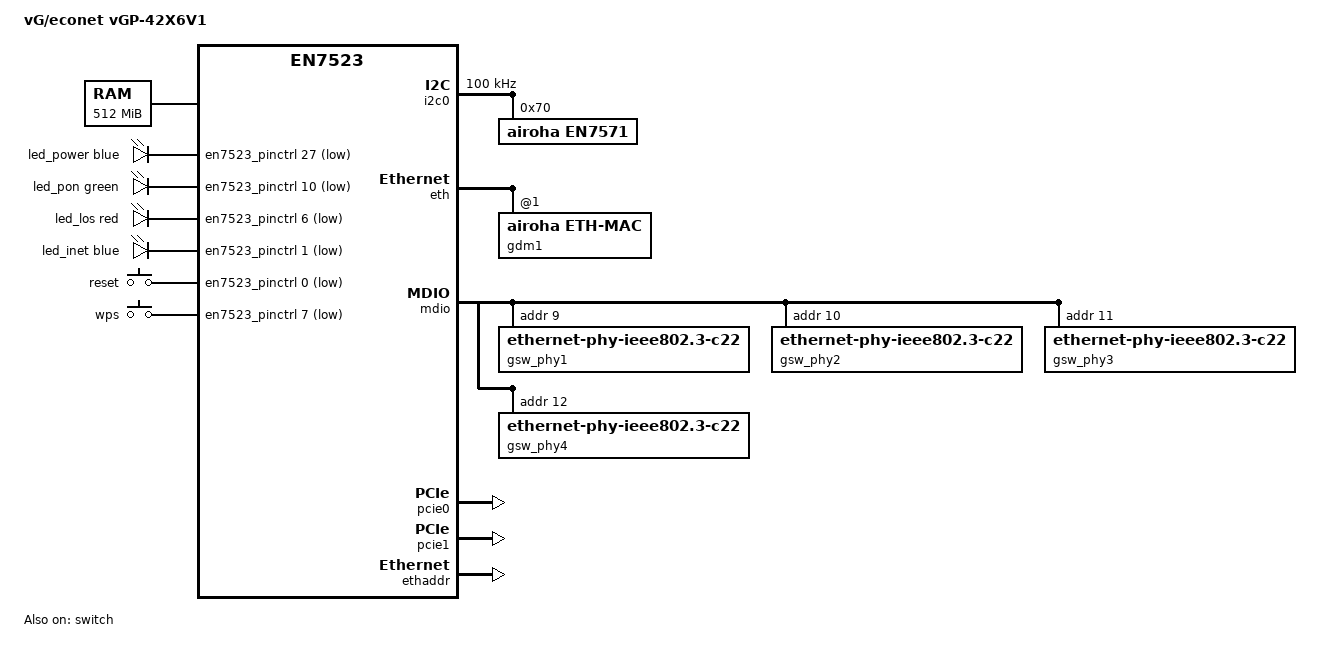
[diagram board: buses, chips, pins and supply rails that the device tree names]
// SPDX-License-Identifier: (GPL-2.0-only OR BSD-2-Clause)
/*
 * vG/econet vGP-42X6V1 -- GPON ONU on the Airoha/Econet EN7523 SoC
 * Board bring-up for OpenWrt.
 *
 * Milestones already validated on real hardware:
 *   M2/M3: UART + NAND (FIT splits kernel/rootfs/rootfs_data) + UBI overlay on mtd7 + PCIe/WiFi
 *   M4   : internal Ethernet -- FE/QDMA/GDMP + GDM1 + GSW (MT7530 compatible) -> 4 LAN ports
 *
 * Data sources:
 *  - /proc/mtd, /proc/meminfo, /proc/cmdline (see docs/reverse-engineering.md)
 *  - the stock device tree extracted from the vendor FIT image
 *  - eth/gdm1/switch/gsw_port/mdio nodes: from the upstream EN7523 patch series
 *    (OpenWrt PR #20104, patches 930-42..930-51) -- see docs/ethernet.md
 *
 * NOTE: the PON nodes (xpon / xpon_phy / pon_pcs / laser) are NOT here -- they need a
 * separate config + PON patch (see openwrt/pon/README.md). M4 only enables Ethernet/switch,
 * so the optical part is still in the "no driver yet" state.
 */
/dts-v1/;

/* ATF is placed at the start of DRAM by the bootloader (tcboot/U-Boot), as in en7523-evb.dts */
/memreserve/ 0x80000000 0x200000;

#include <dt-bindings/gpio/gpio.h>
#include <dt-bindings/input/input.h>
#include <dt-bindings/interrupt-controller/arm-gic.h>
#include <dt-bindings/leds/common.h>
#include <dt-bindings/reset/airoha,en7523-reset.h>
#include "en7523.dtsi"

/ {
	model = "vG/econet vGP-42X6V1";
	compatible = "econet,vgp-42x6v1", "airoha,en7523";

	aliases {
		serial0 = &uart1;
		/* status LEDs for diag.sh / init.d/led (get_dt_led boot|running|...) */
		led-boot = &led_power;
		led-running = &led_power;
		led-failsafe = &led_power;
		led-upgrade = &led_power;
	};

	chosen {
		bootargs = "console=ttyS0,115200n8 earlycon";
		stdout-path = "serial0:115200n8";
		linux,usable-memory-range = <0x80200000 0x1fe00000>;
	};

	/*
	 * Real RAM = 512 MB. Read live: MemTotal 480136 kB (~32 MiB at the start is reserved
	 * by NPU/ATF). The stock DT declares 0x40000000 (1 GiB) -- WRONG, do not use.
	 */
	memory@80000000 {
		device_type = "memory";
		reg = <0x80000000 0x20000000>;
	};

	/*
	 * ------------------------------------------------------------------
	 * I2C0 (0x1fbf8000) -- the optical bus (BOSA/EN7571 at 0x70)
	 * ------------------------------------------------------------------
	 * On the stock firmware the DDMI values are read through the PON PHY
	 * block's *internal* I2C master, while the community tree and the one
	 * public EN7523 port (Zyxel PX3321-T1) both put the EN7571 on the SoC's
	 * I2C0 at address 0x70. This is the experiment that settles it: enable
	 * the bus and the driver, then scan for 0x70 with `i2cdetect -y -r 0`.
	 * - airoha_caps: max_clk_div 0xfff, atomic polling, no CFG2 register
	 *   (patch 930-52, taken from the airoha_en7523_all branch).
	 * - fixed 20 MHz clock, 100 kHz bus. No pinctrl: the I2C pads use the
	 *   SoC defaults.
	 *
	 * Address 0x70 was confirmed on real hardware (2026-10-08): an
	 * `i2cdetect -y -r 0` scan answers at 0x70, so the EN7571 is on this bus
	 * and the read-only probing phase is over. The child node below hands
	 * the part to the optical frontend driver, which writes its bring-up
	 * sequence and the board BOB calibration into the laser-diode driver.
	 * Keep the fibre unplugged and the PON port dark while that driver is
	 * brought up: the stock LED map calls this board's TX-disable line
	 * GPIO16, and nothing in this DTS claims it, so the dark state rests on
	 * the BOSA's own power-up state rather than on Linux.
	 */
	i2cclock: i2cclock@0 {
		#clock-cells = <0>;
		compatible = "fixed-clock";
		clock-frequency = <20000000>;
	};

	i2c0: i2c0@1fbf8000 {
		compatible = "airoha,en7523-i2c";
		reg = <0x1fbf8000 0x100>;
		clocks = <&i2cclock>;
		clock-frequency = <100000>;
		#address-cells = <1>;
		#size-cells = <0>;
		status = "okay";

		/*
		 * BOSA + EN7571 laser-diode driver / limiting amplifier.
		 *
		 * firmware-name points at this unit's own BOB calibration blob
		 * (400 B, magic 0x07050701 at byte 0x94 -- the byte lddla_bob_import()
		 * uses to identify both the chip family and the 32-bit word
		 * endianness of the source). The file is installed at
		 * /lib/firmware/airoha/en7571_bob.bin.
		 *
		 * Deliberately no nvmem-cells: the driver tries an nvmem cell named
		 * "calibration" first and falls back to firmware-name when there is
		 * none. Reading the BOB straight out of flash later would mean
		 * pointing a cell at the factory block (BOB at 0x6F00000+0x497).
		 */
		en7571: lddla@70 {
			compatible = "airoha,en7571";
			reg = <0x70>;
			firmware-name = "airoha/en7571_bob.bin";

			/*
			 * MANDATORY for this node to act as an optical frontend
			 * *provider*: optical/core.c devm_optical_frontend_get_optional()
			 *     -> fwnode_property_get_reference_args(fwnode,
			 *           "optical-frontends",
			 *           "#optical-frontend-cells", 0, index, &args);
			 *     if (ret) { if (ret == -ENOENT) return NULL;
			 *                return ERR_PTR(ret); }   <- -EINVAL
			 * Without this property the lookup returns -EINVAL (not
			 * -EPROBE_DEFER), so airoha_xpon_probe() takes the "failed to
			 * get optical frontend" branch -> "error on register xPON MAC"
			 * -> the whole xPON stack is torn down.
			 */
			#optical-frontend-cells = <0>;
		};
	};

	/*
	 * ------------------------------------------------------------------
	 * Internal Ethernet (M4)
	 * ------------------------------------------------------------------
	 * EN7523 has a Frame Engine (FE) + 2 QDMA blocks (PDMA/QDMA) + GDMP, and 3
	 * internal MAC ports called GDM:
	 *   GDM1 -> internal switch (GSW) -> 4 LAN PHY ports (phy-mode "internal")
	 *   GDM2 -> PON MAC (SGMII 2500Base-X) -- needs a PCS node, NOT enabled in M4
	 *   GDM3 -> USB serdes                              -- NOT enabled in M4
	 * Driver: drivers/net/ethernet/airoha/airoha_eth.c (CONFIG_NET_AIROHA=y).
	 * The GSW switch is MT7530 compatible -> use the mt7530 DSA driver (CONFIG_NET_DSA_MT7530_MMIO).
	 * Addresses/IRQs/resets come from the upstream patch series (930-42..930-51), already
	 * cross-checked against Kiwironic's working EN7523 board DT.
	 */
	eth: ethernet@1fb50000 {
		compatible = "airoha,en7523-eth";
		status = "okay";

		reg = <0x1fb50000 0x2600>,
		      <0x1fb54000 0x2000>,
		      <0x1fb56000 0x2000>,
		      <0x1fbf9000 0x1000>;
		reg-names = "fe", "qdma0", "qdma1", "gdmp";

		resets = <&scu EN7523_FE_RST>,
			 <&scu EN7523_FE_PDMA_RST>,
			 <&scu EN7523_FE_QDMA_RST>,
			 <&scu EN7523_DUAL_HSI0_MAC_RST>,
			 <&scu EN7523_DUAL_HSI1_MAC_RST>,
			 <&scu EN7523_HSI_MAC_RST>,
			 <&scu EN7523_GDMP_RST>;
		reset-names = "fe", "pdma", "qdma",
			      "hsi0-mac", "hsi1-mac", "hsi-mac", "gdmp";

		interrupts = <GIC_SPI 37 IRQ_TYPE_LEVEL_HIGH>,
			     <GIC_SPI 55 IRQ_TYPE_LEVEL_HIGH>,
			     <GIC_SPI 56 IRQ_TYPE_LEVEL_HIGH>,
			     <GIC_SPI 57 IRQ_TYPE_LEVEL_HIGH>,
			     <GIC_SPI 38 IRQ_TYPE_LEVEL_HIGH>,
			     <GIC_SPI 58 IRQ_TYPE_LEVEL_HIGH>,
			     <GIC_SPI 59 IRQ_TYPE_LEVEL_HIGH>,
			     <GIC_SPI 60 IRQ_TYPE_LEVEL_HIGH>,
			     <GIC_SPI 49 IRQ_TYPE_LEVEL_HIGH>,
			     <GIC_SPI 64 IRQ_TYPE_LEVEL_HIGH>;

		memory-region = <&qdma0_buf>, <&qdma1_buf>;
		memory-region-names = "qdma0-buf", "qdma1-buf";

		#address-cells = <1>;
		#size-cells = <0>;

		gdm1: ethernet@1 {
			compatible = "airoha,eth-mac";
			reg = <1>;
			/* GDM1 only supports "internal" when connected to the internal switch */
			phy-mode = "internal";
			status = "okay";

			/*
			 * The identity of this unit comes out of its own flash, read by the
			 * kernel: the `ethaddr` variable of the U-Boot environment (see the
			 * u-boot-env partition) is exposed as an nvmem cell, and the driver
			 * picks it up through of_get_ethdev_address(). Nothing in this
			 * repository carries a per-unit value any more, and no boot-time
			 * userspace script assigns a MAC.
			 *
			 * Without a cell the driver's of_get_ethdev_address() fails and it
			 * calls eth_hw_addr_random(): eth0 gets a new address on every boot
			 * (MEASURED: dmesg "generated random MAC address ...",
			 * addr_assign_type = 1 = NET_ADDR_RANDOM). If the nvmem provider is
			 * not up yet the call returns -EPROBE_DEFER and the driver defers
			 * (airoha_eth.c), so the address is always read before the netdev is
			 * registered.
			 *
			 * The index is the offset ADDED to the stored address: there is only
			 * one address on the board, and drivers/nvmem/layouts/u-boot-env.c
			 * runs eth_addr_add(mac, index) when the index is non-zero. Index 0 is
			 * the address exactly as flashed -- the one printed on the label --
			 * and is what the CPU port (GDM1) and the LAN bridge use.
			 */
			nvmem-cells = <&ethaddr 0>;
			nvmem-cell-names = "mac-address";

			fixed-link {
				speed = <10000>;
				full-duplex;
				pause;
			};
		};
	};

	switch: switch@1fb58000 {
		compatible = "airoha,en7523-switch";
		reg = <0x1fb58000 0x8000>;
		resets = <&scu EN7523_GSW_RST>;
		interrupt-controller;
		#interrupt-cells = <1>;
		interrupt-parent = <&gic>;
		interrupts = <GIC_SPI 31 IRQ_TYPE_LEVEL_HIGH>;
		status = "okay";

		#address-cells = <1>;
		#size-cells = <1>;

		/*
		 * Per-port identity comes from flash too: DSA reads each port's MAC with
		 * of_get_mac_address() (net/dsa/dsa.c) and uses it verbatim when it is not
		 * all-zero (net/dsa/port.c, otherwise the port inherits its conduit's
		 * address). The index is again the offset added to the single stored
		 * address, so lan1..lan4 get base+1..base+4 and never collide with GDM1
		 * (base+0) or the two radios (base+6, base+7).
		 */
		ports {
			#address-cells = <1>;
			#size-cells = <0>;

			gsw_port1: port@1 {
				reg = <1>;
				label = "lan1";
				phy-mode = "internal";
				phy-handle = <&gsw_phy1>;
				status = "okay";

				nvmem-cells = <&ethaddr 1>;
				nvmem-cell-names = "mac-address";
			};

			gsw_port2: port@2 {
				reg = <2>;
				label = "lan2";
				phy-mode = "internal";
				phy-handle = <&gsw_phy2>;
				status = "okay";

				nvmem-cells = <&ethaddr 2>;
				nvmem-cell-names = "mac-address";
			};

			gsw_port3: port@3 {
				reg = <3>;
				label = "lan3";
				phy-mode = "internal";
				phy-handle = <&gsw_phy3>;
				status = "okay";

				nvmem-cells = <&ethaddr 3>;
				nvmem-cell-names = "mac-address";
			};

			gsw_port4: port@4 {
				reg = <4>;
				label = "lan4";
				phy-mode = "internal";
				phy-handle = <&gsw_phy4>;
				status = "okay";

				nvmem-cells = <&ethaddr 4>;
				nvmem-cell-names = "mac-address";
			};

			/* port 6 = CPU port, connected to MAC GDM1 */
			port@6 {
				reg = <6>;
				ethernet = <&gdm1>;
				phy-mode = "internal";

				fixed-link {
					speed = <10000>;
					full-duplex;
					pause;
				};
			};
		};

		mdio: mdio {
			#address-cells = <1>;
			#size-cells = <0>;

			gsw_phy1: ethernet-phy@9 {
				compatible = "ethernet-phy-ieee802.3-c22";
				reg = <9>;
			};

			gsw_phy2: ethernet-phy@a {
				compatible = "ethernet-phy-ieee802.3-c22";
				reg = <10>;
			};

			gsw_phy3: ethernet-phy@b {
				compatible = "ethernet-phy-ieee802.3-c22";
				reg = <11>;
			};

			gsw_phy4: ethernet-phy@c {
				compatible = "ethernet-phy-ieee802.3-c22";
				reg = <12>;
			};
		};
	};
};

/*
 * QDMA DMA area. en7523.dtsi already has a reserved-memory node (5 regions for
 * the NPU, 0x84000000-0x86E00000), so here we extend it by path overlay -- do NOT
 * create a second reserved-memory node (dtc will report a duplicate node name).
 *
 * 0x87000000-0x8A000000 is inside the 512 MB DRAM, right after the dtsi NPU region.
 * "no-map" => the kernel does not map this area; only the eth driver uses it as ring buffers.
 */
&{/reserved-memory} {
	qdma0_buf: qdma0-buf@87000000 {
		no-map;
		reg = <0x87000000 0x02000000>;
	};

	qdma1_buf: qdma1-buf@89000000 {
		no-map;
		reg = <0x89000000 0x01000000>;
	};
};

/*
 * ------------------------------------------------------------------
 * img16: drop the 2 old "GPIO banks", use the airoha,en7523-pinctrl driver
 * ------------------------------------------------------------------
 * The old banks (`airoha,en7523-gpio` declared in en7523.dtsi) map
 * 0x1fbf0204/0200/0220/0214 + 0x1fbf0270/0260/0264/0278 -- they OVERLAP the
 * 0x1fbf0200..0x1fbf02bf window of the pinctrl driver => the two drivers cannot
 * coexist. The old nodes must go, exactly as in U-Boot patch
 * 110-arm-dts-en7523-add-pinctrl-gpio-support-drop-legacy-.patch.
 */
/delete-node/ &gpio0;
/delete-node/ &gpio1;

/*
 * (C1) `syscon_node_to_regmap()` only accepts a node with compatible "syscon"
 * (drivers/mfd/syscon.c: device_node_get_regmap(np,
 * of_device_is_compatible(np, "syscon"), true)); the `scu:` node of en7523.dtsi
 * (`compatible = "airoha,en7523-scu"`) does NOT have it => add "syscon" here.
 * This does not change clock driver behaviour: it matches the of_match_table
 * entry "airoha,en7523-scu" (still first in the list), and the reg window
 * 0x1fa20000+0x400 fully covers the IOMUX range 0x210..0x224.
 */
&scu {
	compatible = "airoha,en7523-scu", "syscon";
};

/ {
	/*
	 * (C3) SCU register window (0x1fb00000) -- mandatory for the PON driver.
	 *
	 * The en7523.dtsi `scu:` node merges TWO regions:
	 *     reg = <0x1fa20000 0x400>, <0x1fb00000 0x1000>;
	 * but syscon only takes reg[0] (of_syscon_register -> of_address_to_resource
	 * (np, 0)), so the regmap has max_register = 0x3fc. Consequence: every
	 * `airoha-xpon` access to RST_CTRL2 (0x830) / RST_CTRL1 (0x834) -- which live
	 * at 0x1fb00830/0x1fb00834 -- is SILENTLY REFUSED by regmap: writes have no
	 * effect and reads keep returning stack garbage.
	 *
	 * The community tree solves it by SPLITTING into two nodes (chip_scu at
	 * 0x1fa20000 and scuclk at 0x1fb00000) and pointing every consumer at
	 * `airoha,scu = <&scuclk>`. Here the minimal version: one extra syscon node
	 * for the 0x1fb00000 register window only, referenced by the two PON nodes
	 * (see en7523-vgp42x6v1-pon.dtsi). The compatible is deliberately NOT
	 * "airoha,en7523-scu" so the clock/reset driver does not probe twice.
	 */
	scu_reg: syscon@1fb00000 {
		compatible = "airoha,en7523-scu-regs", "syscon";
		reg = <0x1fb00000 0x1000>;
	};

	system-controller@1fbf0200 {
		compatible = "syscon", "simple-mfd";
		/* >= 0x98 (irq_edge/level up to 0x94) and covers LAN_LED1_MAPPING 0x7c.
		 * The vendor DT declares 0x80, which is TOO SMALL. */
		reg = <0x1fbf0200 0xc0>;

		en7523_pinctrl: pinctrl {
			compatible = "airoha,en7523-pinctrl";

			/*
			 * (C2) MANDATORY. Without this phandle
			 * syscon_regmap_lookup_by_compatible("airoha,en7523-chip-scu") returns NULL
			 * (no DTS in the tree declares that compatible) => -ENODEV => probe bails out:
			 * NO gpiochip, and every LED + button is lost. (U-Boot looks up the SCU a
			 * different way, so the blueprint copied from the U-Boot patch misses this
			 * line.)
			 */
			airoha,chip-scu = <&scu>;

			/* platform_get_irq() runs BEFORE devm_gpiochip_add_data() =>
			 * without these two lines the gpiochip is lost. GIC_SPI 26 is correct for the
			 * whole EN7523/AN7581/AN7583 family. */
			interrupt-parent = <&gic>;
			interrupts = <GIC_SPI 26 IRQ_TYPE_LEVEL_HIGH>;

			gpio-controller;
			#gpio-cells = <2>;

			interrupt-controller;
			#interrupt-cells = <2>;

			/* MANDATORY in practice:
			 * airoha_convert_pin_to_reg_offset() uses
			 * pinctrl_find_gpio_range_from_pin_nolock(); without a range => -EINVAL for
			 * every set/get operation.
			 * Row N <-> internal pin N+12 => <&en7523_pinctrl N> ==
			 * <&en7523_pinctrl N>; the number 12 is NOT a row shift. */
			gpio-ranges = <&en7523_pinctrl 0 12 30>;

			/*
			 * No pinctrl-0 is needed to "return the pads to GPIO": patch 203-02
			 * writes 0 to 5 SCU IOMUX registers right in probe --
			 * 0x0210 2ND_I2C_MODE, 0x0214 SPI_CS1_MODE, 0x0218 PON_MODE,
			 * 0x0220 NPU_UART_EN, 0x0224 FORCE_GPIO_EN (EN7523: 0 = GPIO)
			 * -- BEFORE the gpiochip is registered. Those are exactly the bits
			 * holding gpio1/3/11/26.
			 * WARNING: for gpio0..27 there is NO `function = "gpio"`: gpio_groups[]
			 * only declares gpio28/gpio29. Never use `"pwm"` to
			 * "return to GPIO" -- it SETS the PWM bit.
			 * WARNING: REG_GPIO_FLASH_MODE_CFG 0x1fbf0234 / _EXT 0x1fbf0268
			 * are NOT cleared; if a pad is still dead, read those two registers.
			 */
		};
	};
};

/*
 * ------------------------------------------------------------------
 * Front-panel LEDs + buttons (M4.5) -- GPIO numbers MEASURED on real hardware
 * ------------------------------------------------------------------
 * The vendor table `userfs/7523duled.conf` does NOT match this board (see docs section
 * 25.19.11-25.19.13): many pads the vendor marks as LEDs have no LED on this unit, so
 * the numbers below are MEASURED RESULTS, not derived from the vendor table.
 *
 * Measurement method: drive each pad low while all other pads are high, then read
 * back the `data[]` register (0x1fbf0204) to be sure the pad really changed level.
 *
 *   pad 27 -> PWR (blue)   OK: lit right after boot because bit27 of `data[]`
 *                              defaults to 0 -- this is NOT any driver, so
 *                              `default-state = "on"` is required to keep it.
 *   pad 1  -> INT (case prints INET, blue) OK
 *   pad 10 -> PON (green)     OK
 *   pad 6  -> LOS (case prints ALM)  OK  (img15/img16 used pad 6 = WLAN 2.4G: WRONG)
 *   pad 11 -> NO LED (vendor table says PWR) -- this is the root cause of the
 *            "POWER cannot be controlled" bug in img15/img16: the DTS drove
 *            pad 11 while pad 11 is dead.
 *   pad 3, 26 -> NO LED (vendor table says LOS, WPS)
 *   pad 2,4,5,8,9,12..21,28,29 -> NO LED
 *   pad 22..25 -> switch LED pads: muxed to the switch LED engine, so driving
 *            them as GPIO has no effect (the 4 LAN1-4 LEDs still work normally)
 *
 * WARNING: gpio29 = `pcie_reset1` (the vendor table calls it the Internet LED): pulling
 *   it low resets PCIe => WiFi is lost. Do NOT declare an LED for it, do not test it.
 *
 * LAN1-4: driven by the switch LED engine (SCU 0x1fa20210 bits 3/5/7/9 =
 *   LAN0..3_LED0_MODE = 1) => not declared in the DTS and not controllable via
 *   GPIO.
 * 2.4G / 5G: driven by the WiFi module -- `/sys/class/leds/mt76-phy0` and
 *   `mt76-phy1` already exist; they are not SoC GPIOs.
 * WPS: no controllable pad was found (all 28 safe pads were tried, plus holding
 *   the button) => no LED node is declared. The WPS button on gpio7 still works.
 *
 * #gpio-cells = <2> => the polarity GPIO_ACTIVE_LOW is always given.
 * &en7523_pinctrl N == &gpio0 N (internal pin = N + 12).
 */
/ {
	leds {
		compatible = "gpio-leds";

		led_power: led-power {
			function = LED_FUNCTION_POWER;
			color = <LED_COLOR_ID_BLUE>;
			gpios = <&en7523_pinctrl 27 GPIO_ACTIVE_LOW>;
			default-state = "on";	/* bit27 defaults to 0 => "on" is required to keep PWR lit as in stock */
		};

		led_pon: led-pon {
			function = "pon";
			color = <LED_COLOR_ID_GREEN>;
			gpios = <&en7523_pinctrl 10 GPIO_ACTIVE_LOW>;	/* measured on real hardware */
		};

		led_los: led-los {
			function = "los";
			color = <LED_COLOR_ID_RED>;
			gpios = <&en7523_pinctrl 6 GPIO_ACTIVE_LOW>;	/* measured on real hardware: pad 6 = LOS/ALM */
		};

		led_inet: led-inet {
			function = "inet";
			color = <LED_COLOR_ID_BLUE>;
			gpios = <&en7523_pinctrl 1 GPIO_ACTIVE_LOW>;	/* measured on real hardware: pad 1 = INET */
		};
	};

	/*
	 * img16: the `airoha,en7523-pinctrl` node DOES have interrupt-controller (GIC SPI 26),
	 * so it now qualifies for switching to `gpio-keys` with real interrupts. This load
	 * still keeps `gpio-keys-polled` so that only ONE variable (pinctrl) changes -- the
	 * 100 ms poll runs fine; switching would need `interrupts` on every child node and
	 * a re-check of the binding first.
	 */
	keys {
		compatible = "gpio-keys-polled";
		poll-interval = <100>;

		key-reset {
			label = "reset";
			linux,code = <KEY_RESTART>;
			gpios = <&en7523_pinctrl 0 GPIO_ACTIVE_LOW>;	/* proven: log shows pressed/released + reboot */
		};

		key-wps {
			label = "wps";
			linux,code = <KEY_WPS_BUTTON>;
			gpios = <&en7523_pinctrl 7 GPIO_ACTIVE_LOW>;	/* dead pad before img16: holding it for 30 s did nothing */
		};
	};
};

/* WiFi MediaTek MT7916 sits on PCIe (kmod-mt7915e + kmod-mt7916-firmware) */
&pcie0 {
	status = "okay";
};

&pcie1 {
	status = "okay";

	/*
	 * The MT7916 is the only device on this bus: /proc/bus/pci shows
	 * `0001:01:00.0`, and domain 1 is pcie@1fa92000 (linux,pci-domain = <1>).
	 * This node exists ONLY to give the radios a MAC.
	 *
	 * The PCI core attaches it to the device whose devfn matches `reg`
	 * (drivers/pci/of.c, of_pci_find_child_device(); no compatible needed), and
	 * mt76_eeprom_override() (eeprom.c of the mt76 package) then walks the
	 * CHILDREN of this node for one whose `reg` equals the band index of the phy
	 * it is overriding -- not the node itself, and not once per chip. Band 0 is
	 * the 2.4 GHz radio, band 1 the 5 GHz one.
	 *
	 * Hence one cell per band. Index 6 = base+6 for 2.4 GHz and 7 = base+7 for
	 * 5 GHz, the mapping this board has always used. A child `reg` matching no
	 * band is ignored, and if a band's cell is missing or invalid the driver
	 * keeps the zero MAC of the default eeprom blob and logs "Invalid MAC
	 * address, using random address" -- a different address on every boot,
	 * which is what happened before this node existed.
	 */
	/*
	 * The MT7916 shows up as 0001:01:00.0 with the integrated root port
	 * 0001:00:01.0 below pcie@1fa92000 (measured: sysfs path
	 * platform/1fa92000.pcie/pci0001:00/0001:00:01.0/0001:01:00.0).  Without
	 * this node the endpoint's PCI bus has no device-tree of_node, so
	 * drivers/pci/of.c pci_set_of_node() bails immediately and the wifi PCI
	 * device runs with fwnode == NULL -- mt76 then cannot walk the band
	 * children and keeps the "Invalid MAC address, using random address"
	 * fallback that used to happen.
	 */
	pci@1,0 {
		reg = <0x00000800 0 0 0 0>;	/* devfn 0x08: bus 0001:00, dev 1, fn 0 */
		device_type = "pci";
		#address-cells = <3>;
		#size-cells = <2>;

		wifi@0,0 {
			reg = <0x00010000 0 0 0 0>;	/* bus 0001:01, dev 0, fn 0 */

			/* The band nodes are addressed by index, not by PCI convention. */
			#address-cells = <1>;
			#size-cells = <0>;

			band@0 {
				reg = <0>;

				nvmem-cells = <&ethaddr 6>;
				nvmem-cell-names = "mac-address";
			};

			band@1 {
				reg = <1>;

				nvmem-cells = <&ethaddr 7>;
				nvmem-cell-names = "mac-address";
			};
		};
	};
};

/*
 * NAND partition table -- EXACTLY per `cat /proc/mtd` on real hardware (2026-10-01).
 * NEVER write to tclinux (slot A), config, reservearea or the raw area at the end of
 * flash (0x6900000-0x8000000 holds the factory/GPON serial + BOB laser + BMT).
 */
&nand {
	partitions {
		compatible = "fixed-partitions";
		#address-cells = <1>;
		#size-cells = <1>;

		partition@0 {
			label = "bootloader";
			reg = <0x0000000 0x0080000>;
			read-only;
		};

		partition@80000 {
			label = "romfile";
			reg = <0x0080000 0x0040000>;
			read-only;
		};

		partition@c0000 {
			label = "tclinux";		/* slot A -- stock, do not write */
			reg = <0x00C0000 0x2800000>;
			read-only;
		};

		partition@28c0000 {
			label = "tclinux_slave";	/* slot B -- where OpenWrt firmware is written */
			reg = <0x28C0000 0x2800000>;
			/*
			 * The target airoha sysupgrade image is FIT + squashfs:
			 *   offset 0x000000  FIT (kernel lzma)   totalsize ~0x3831AC
			 *   offset 0x3A0000  squashfs "hsqs"
			 * Declare "denx,fit" so CONFIG_MTD_SPLIT_FIT_FW splits it into
			 *   kernel / rootfs / rootfs_data  (see docs/booting.md, section 4.1)
			 * After the split the mtd indices shift (measured, /proc/mtd has 10 partitions):
			 *   mtd4 = kernel, mtd5 = rootfs, mtd6 = rootfs_data,
			 *   mtd7 = data,   mtd8 = config, mtd9 = reservearea.
			 * The running overlay is UBI on mtd7 (data) -- OUTSIDE slot B, so
			 * sysupgrade (which erases mtd3) does not destroy the overlay.
			 */
			compatible = "denx,fit";
		};

		partition@50c0000 {
			label = "data";			/* originally JFFS2 -> now UBI (overlay) */
			reg = <0x50C0000 0x1400000>;
		};

		partition@64c0000 {
			label = "config";
			reg = <0x64C0000 0x0200000>;
			read-only;
		};

		partition@66c0000 {
			label = "reservearea";		/* empty (all 0xFF) but kept read-only */
			reg = <0x66C0000 0x0240000>;
			read-only;
		};

		/*
		 * 0x6900000-0x8000000 (23 MB) = vendor raw area. Only the start of
		 * it is declared below (the read-only "bob" factory block, whose
		 * GPON serial cell the OMCI stack reads); the rest stays
		 * undeclared and is never written.
		 */

		/*
		 * "bob": the vendor factory block. READ-ONLY, never written.
		 *
		 * Why it exists: the OMCI block (net/xpon/omci/identity.c) takes
		 * the GPON serial ONLY through the nvmem cell named
		 * "gpon-serial-number". Without the cell it falls back to
		 * gpon_random_serial_number() and the serial changes on every
		 * boot (measured twice). drivers/mtd/mtdcore.c registers an
		 * nvmem provider for a partition exactly when it carries
		 * "compatible = nvmem-cells", and the cell name follows the node
		 * name, so the child must be named `gpon-serial-number@2bc`.
		 * (The tclinux_slave partition already uses compatible "denx,fit"
		 * and still works, so a non-"fixed-partitions" compatible does not
		 * drop the partition.)
		 *
		 * Why 0x6F00000 + 0x20000: the SPI-NAND is 128 MiB with a 128 KiB
		 * (0x20000) erase block, so a partition must be erase-block
		 * aligned, and 0x6F00000 is already aligned. The area sits outside
		 * every old partition, so sysupgrade never writes there.
		 *
		 * The 12 bytes at +0x2BC are the unit serial (4 vendor characters
		 * + 8 hex digits, the shape omci_normalize_serial() handles in its
		 * own branch). The value is per-unit data and is NOT published in
		 * this repository -- the node only says where the driver looks.
		 */
		partition@6f00000 {
			label = "bob";
			reg = <0x6F00000 0x20000>;
			read-only;

			compatible = "nvmem-cells";
			#address-cells = <1>;
			#size-cells = <1>;

			gpon_serial: gpon-serial-number@2bc {
				reg = <0x2BC 0xC>;
			};
		};

		/*
		 * U-Boot environment -- the only per-unit identity data on this board
		 * that the kernel can read straight out of flash. READ-ONLY, and it is
		 * shared with U-Boot: never write to it from Linux.
		 *
		 * DECLARED LAST ON PURPOSE. An MTD partition's index is its position in
		 * this node, and the vendor U-Boot boots the kernel with
		 * `root=/dev/mtdblock5` (MEASURED, /proc/cmdline). Appending here leaves
		 * mtd0..mtd10 exactly as `cat /proc/mtd` shows them, so that cmdline and
		 * every index in docs/booting.md stay valid. The region OVERLAPS
		 * partition@0 (bootloader); the MTD core does not reject overlapping
		 * partitions -- it only refuses to make a partition that is not
		 * erase-block aligned WRITABLE (drivers/mtd/mtdpart.c,
		 * allocate_partition()), which is what read-only means anyway.
		 *
		 * MECHANISM (why NOT "u-boot,env"): mtdcore registers one nvmem device
		 * per MTD partition (mtd_nvmem_add()), so TWO nvmem devices share this
		 * partition's of_node: mtd11's own nvmem, registered first at partition
		 * creation, and the u-boot,env platform driver's nvmem, registered
		 * later from the platform device. of_nvmem_cell_get() takes the FIRST
		 * nvmem matching the cell's parent node (drivers/nvmem/core.c,
		 * __nvmem_device_get(), bus_find_device()), so every consumer resolved
		 * mtd11's cell-less nvmem and got -ENOENT forever -- MEASURED on
		 * hardware: random MACs for eth and wifi, everything else verified
		 * correct (mtd11 present, u-boot-env0 registered, env CRC valid).
		 *
		 * With "compatible = nvmem-cells" the mtdcore nvmem FOR THIS PARTITION
		 * parses its own children as nvmem cells at registration
		 * (nvmem_add_cells_from_legacy_of() -> nvmem_add_cells_from_dt()) --
		 * exactly the device consumers resolve, so there is no ordering
		 * ambiguity left. "fixed-layout" additionally makes the core apply the
		 * mac-base fixup (nvmem_layout_parse_mac_base()).
		 *
		 * Cell reg (MEASURED with tools/check_dts_mac.py --dump on a LIVE mtd11
		 * read: the vendor upgrade QFLOW writes the environment with its own
		 * variable set, so the `ethaddr=` variable reorders whenever the stock
		 * env is re-saved; the first build shipped 0x372 from a 41-variable
		 * dump and silently missed on the 43-variable live window): the 16 KiB
		 * window holds a 4-byte LE CRC32 then NUL-separated name=value text;
		 * `ethaddr=` sits at 0x197 and its value
		 * ("24:0b:2a:fc:a6:f0", 17 = 0x11 bytes) at 0x19F. 17 bytes is the
		 * documented mac-base ASCII form (nvmem_mac_base_ascii_read():
		 * mac_pton() + eth_addr_add(mac, index), the index coming from
		 * #nvmem-cell-cells -- see GDM1 and the switch ports above). Re-run
		 * --dump on a fresh read whenever the stock firmware touches the env.
		 */
		partition@7c000 {
			label = "u-boot-env";
			reg = <0x07C000 0x4000>;
			read-only;

			compatible = "nvmem-cells", "fixed-layout";
			#address-cells = <1>;
			#size-cells = <1>;

			ethaddr: ethaddr@19f {
				reg = <0x19F 0x11>;
				compatible = "mac-base";
				#nvmem-cell-cells = <1>;
			};
		};
	};
};

/*
 * ------------------------------------------------------------------
 * PON block (gdm2 + xpon + xpon_phy + pon_pcs)
 * ------------------------------------------------------------------
 * MUST be at the END of the file: the included file references `&eth`
 * (the label defined above), so it cannot be included earlier.
 *
 * Deliberate isolation: if the optical block ever breaks booting or the
 * driver, removing exactly this one include line returns the tree to the
 * Ethernet/switch state -- no other node has to change.
 */
#include "en7523-vgp42x6v1-pon.dtsi"
